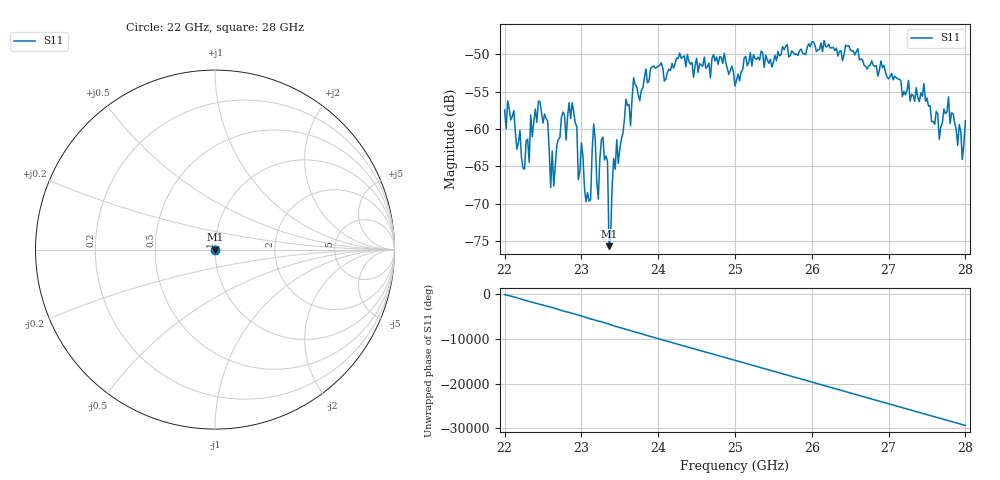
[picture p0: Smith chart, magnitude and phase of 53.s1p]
#  HZ  S  RI  R  50.00
! Rohde & Schwarz ZVA40 4Ports - Version 3.90 - 1145.1110k42 SN: 100403
! Date: 2023-10-04 07:39:18
! Measurement: S12
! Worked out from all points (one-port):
!   301 points, 22 GHz to 28 GHz, reference 50 ohm
!   lowest |S11| = -75.7 dB at 23.36 GHz (marker M1), VSWR 1.00, Z = 50 + j0.00799 ohm
!   |S11| at or under -10 dB: start of sweep to end of sweep
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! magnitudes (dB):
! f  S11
! 22 GHz  -57.4
! 22.26 GHz  -65.4
! 22.46 GHz  -56.3
! 22.56 GHz  -58.9
! 22.6 GHz  -67.9
! 22.76 GHz  -57.7
! 22.88 GHz  -56.5
! 22.96 GHz  -66.8
! 23 GHz  -61.9
! 23.06 GHz  -69.8
! 23.12 GHz  -69.5
! 23.16 GHz  -59.3
! 23.22 GHz  -69.4
! 23.28 GHz  -61.1
! 23.34 GHz  -64.4
! 23.36 GHz  -75.7
! 23.42 GHz  -64.0
! 23.5 GHz  -62.7
! 23.68 GHz  -53.1
! 24.26 GHz  -50.6
! 25 GHz  -54.2
! 25.76 GHz  -49.8
! 26.5 GHz  -49.3
! 27.26 GHz  -53.5
! 27.66 GHz  -61.4
! 27.78 GHz  -55.7
! 27.96 GHz  -64.1
! 28 GHz  -58.9
